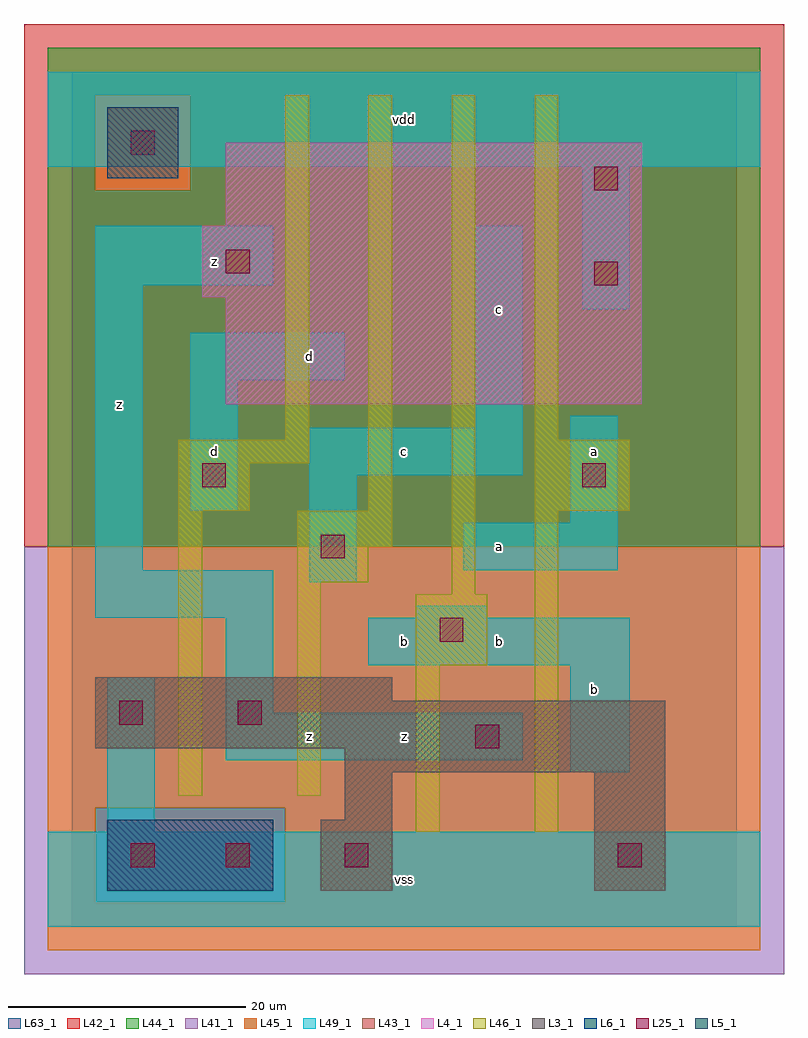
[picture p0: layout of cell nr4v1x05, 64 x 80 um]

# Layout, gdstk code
import gdstk
lib = gdstk.Library(unit=1e-6, precision=1e-09)
def R(c, l, rs):  # rectangles x0, y0, x1, y1
    for r in rs: c.add(gdstk.rectangle(r[:2], r[2:], *l))
L3_1 = (3, 1)
L4_1 = (4, 1)
L5_1 = (5, 1)
L6_1 = (6, 1)
L25_1 = (25, 1)
L41_1 = (41, 1)
L42_1 = (42, 1)
L43_1 = (43, 1)
L44_1 = (44, 1)
L45_1 = (45, 1)
L46_1 = (46, 1)
L49_1 = (49, 1)
L63_1 = (63, 1)

nr4v1x05 = lib.new_cell('nr4v1x05')
R(nr4v1x05, L3_1, [(21,3,27,9), (44,3,50,13), (23,9,27,13), (23,13,50,15), (2,15,50,19), (2,19,27,21)])
R(nr4v1x05, L4_1, [(13,44,48,53), (11,53,48,59), (13,59,48,66)])
R(nr4v1x05, L5_1, [(3,63,9,69)])
R(nr4v1x05, L6_1, [(3,3,17,9), (3,3,17,9)])
R(nr4v1x05, L25_1, [(5,5,7,7), (13,5,15,7), (23,5,25,7), (46,5,48,7), (34,15,36,17), (4,17,6,19), (14,17,16,19), (31,24,33,26), (21,31,23,33), (11,37,13,39), (43,37,45,39), (44,54,46,56), (13,55,15,57), (44,62,46,64), (5,65,7,67)])
R(nr4v1x05, L41_1, [(-4,-4,60,32)])
R(nr4v1x05, L42_1, [(-4,32,60,76)])
R(nr4v1x05, L43_1, [(3,3,17,9), (21,3,27,9), (44,3,50,13), (23,9,27,13), (23,13,50,15), (2,15,50,19), (2,19,27,21), (13,44,48,53), (11,53,48,59), (13,59,48,66), (3,63,9,69)])
R(nr4v1x05, L44_1, [(2,2,18,10), (-2,32,58,62), (-2,62,2,70), (10,62,58,70), (-2,70,58,74)])
R(nr4v1x05, L45_1, [(-2,-2,58,2), (-2,2,2,10), (18,2,58,10), (-2,10,58,32), (2,62,10,70)])
R(nr4v1x05, L46_1, [(29,8,31,22), (39,8,41,35), (9,11,11,35), (19,11,21,29), (29,22,35,28), (32,28,34,70), (19,29,25,32), (19,32,27,35), (9,35,15,39), (25,35,27,70), (39,35,47,41), (9,39,20,41), (18,41,20,70), (39,41,41,70)])
R(nr4v1x05, L49_1, [(-2,0,58,8), (3,8,7,21), (42,13,47,22), (13,14,38,18), (13,18,17,26), (25,22,47,26), (2,26,17,30), (29,26,35,27), (20,29,24,38), (2,30,6,54), (33,30,46,34), (42,34,46,43), (10,35,14,46), (20,38,38,42), (34,42,38,59), (10,46,23,50), (43,52,47,64), (2,54,17,59), (-2,64,58,72)])
R(nr4v1x05, L63_1, [(0,0,56,72)])
nr4v1x05.add(gdstk.Label('z', (4,44), layer=49, texttype=1))
nr4v1x05.add(gdstk.Label('z', (20,16), layer=49, texttype=1))
nr4v1x05.add(gdstk.Label('d', (12,40), layer=49, texttype=1))
nr4v1x05.add(gdstk.Label('d', (20,48), layer=49, texttype=1))
nr4v1x05.add(gdstk.Label('z', (12,56), layer=49, texttype=1))
nr4v1x05.add(gdstk.Label('vss', (28,4), layer=49, texttype=1))
nr4v1x05.add(gdstk.Label('z', (28,16), layer=49, texttype=1))
nr4v1x05.add(gdstk.Label('b', (28,24), layer=49, texttype=1))
nr4v1x05.add(gdstk.Label('a', (36,32), layer=49, texttype=1))
nr4v1x05.add(gdstk.Label('b', (36,24), layer=49, texttype=1))
nr4v1x05.add(gdstk.Label('c', (28,40), layer=49, texttype=1))
nr4v1x05.add(gdstk.Label('c', (36,52), layer=49, texttype=1))
nr4v1x05.add(gdstk.Label('vdd', (28,68), layer=49, texttype=1))
nr4v1x05.add(gdstk.Label('b', (44,20), layer=49, texttype=1))
nr4v1x05.add(gdstk.Label('a', (44,40), layer=49, texttype=1))

lib.write_gds('nr4v1x05.gds')
